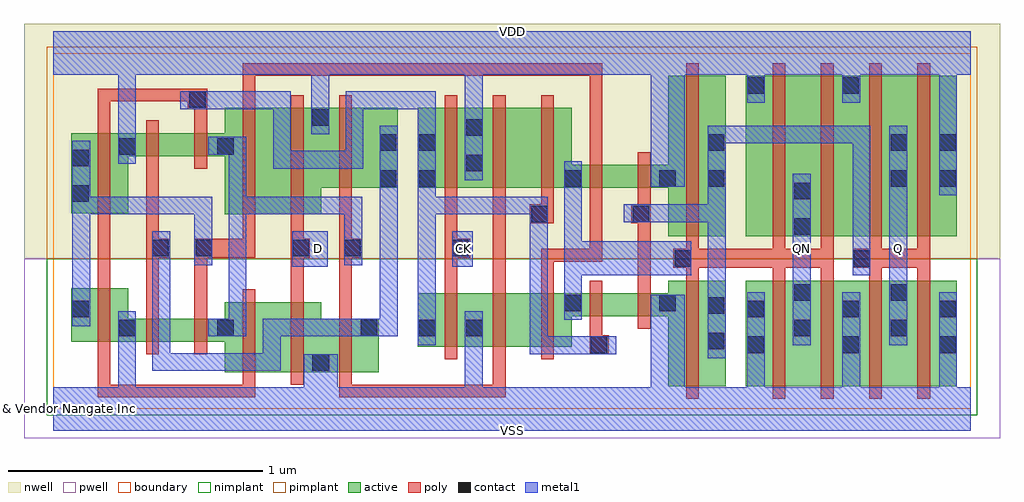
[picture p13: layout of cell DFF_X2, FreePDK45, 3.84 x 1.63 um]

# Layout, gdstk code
import gdstk
lib = gdstk.Library(unit=1e-6, precision=1e-10)
def R(c, l, rs):  # rectangles x0, y0, x1, y1
    for r in rs: c.add(gdstk.rectangle(r[:2], r[2:], *l))
def P(c, l, *ps):  # polygons
    for p in ps: c.add(gdstk.Polygon(p, *l))
active = (1, 0)
pwell = (2, 0)
nwell = (3, 0)
nimplant = (4, 0)
pimplant = (5, 0)
poly = (9, 0)
contact = (10, 0)
metal1 = (11, 0)
boundary = (235, 0)

dff_x2 = lib.new_cell('DFF_X2')
R(dff_x2, active, [(2.725,0.09,3.555,0.505), (2.725,0.68,3.555,1.31)])
P(dff_x2, active, [(0.675,0.145),(0.675,0.265),(0.07,0.265),(0.07,0.475),(0.295,0.475),(0.295,0.355),(0.675,0.355),(0.675,0.42),(1.055,0.42),(1.055,0.355),(1.28,0.355),(1.28,0.145)],
  [(0.675,0.765),(0.675,0.995),(0.295,0.995),(0.295,0.77),(0.07,0.77),(0.07,1.085),(0.675,1.085),(0.675,1.185),(1.355,1.185),(1.355,0.87),(1.055,0.87),(1.055,0.765)],
  [(2.42,0.09),(2.42,0.365),(2.04,0.365),(2.04,0.245),(1.435,0.245),(1.435,0.455),(2.42,0.455),(2.42,0.505),(2.645,0.505),(2.645,0.09)],
  [(2.42,0.68),(2.42,0.87),(1.435,0.87),(1.435,1.185),(2.04,1.185),(2.04,0.96),(2.42,0.96),(2.42,1.31),(2.645,1.31),(2.645,0.68)])
R(dff_x2, pwell, [(-0.115,-0.115,3.725,0.59)])
R(dff_x2, nwell, [(-0.115,0.59,3.725,1.515)])
R(dff_x2, nimplant, [(-0.025,-0.025,3.635,0.59)])
R(dff_x2, pimplant, [(-0.025,0.59,3.635,1.425)])
P(dff_x2, poly, [(0.365,0.215),(0.365,1.135),(0.415,1.135),(0.415,0.67),(0.46,0.67),(0.46,0.595),(0.415,0.595),(0.415,0.215)],
  [(0.175,0.045),(0.175,1.26),(0.605,1.26),(0.605,0.945),(0.555,0.945),(0.555,1.18),(0.53,1.18),(0.53,1.21),(0.225,1.21),(0.225,0.095),(0.745,0.095),(0.745,0.47),(0.795,0.47),(0.795,0.045)],
  [(0.935,0.095),(0.935,1.235),(0.985,1.235),(0.985,0.67),(1.01,0.67),(1.01,0.595),(0.985,0.595),(0.985,0.095)],
  [(1.54,0.195),(1.54,1.235),(1.59,1.235),(1.59,0.67),(1.64,0.67),(1.64,0.595),(1.59,0.595),(1.59,0.195)],
  [(1.125,0.045),(1.125,1.235),(1.175,1.235),(1.175,0.67),(1.215,0.67),(1.215,0.595),(1.175,0.595),(1.175,0.095),(1.73,0.095),(1.73,1.235),(1.78,1.235),(1.78,0.045)],
  [(1.875,0.73),(1.875,0.805),(1.92,0.805),(1.92,1.235),(1.97,1.235),(1.97,0.73)],
  [(1.92,0.195),(1.92,0.63),(2.11,0.63),(2.11,1.31),(0.795,1.31),(0.795,0.595),(0.605,0.595),(0.605,0.215),(0.555,0.215),(0.555,0.67),(0.745,0.67),(0.745,1.36),(2.16,1.36),(2.16,0.58),(1.97,0.58),(1.97,0.195)],
  [(2.11,0.215),(2.11,0.505),(2.16,0.505),(2.16,0.29),(2.185,0.29),(2.185,0.215)],
  [(2.3,0.315),(2.3,0.73),(2.275,0.73),(2.275,0.805),(2.3,0.805),(2.3,1.01),(2.35,1.01),(2.35,0.315)],
  [(2.49,0.04),(2.49,0.555),(2.44,0.555),(2.44,0.63),(2.49,0.63),(2.49,1.36),(2.54,1.36),(2.54,0.63),(2.83,0.63),(2.83,1.36),(2.88,1.36),(2.88,0.63),(3.02,0.63),(3.02,1.36),(3.07,1.36),(3.07,0.04),(3.02,0.04),(3.02,0.555),(2.88,0.555),(2.88,0.04),(2.83,0.04),(2.83,0.555),(2.54,0.555),(2.54,0.04)],
  [(3.21,0.04),(3.21,0.555),(3.145,0.555),(3.145,0.63),(3.21,0.63),(3.21,1.36),(3.26,1.36),(3.26,0.63),(3.4,0.63),(3.4,1.36),(3.45,1.36),(3.45,0.04),(3.4,0.04),(3.4,0.555),(3.26,0.555),(3.26,0.04)])
R(dff_x2, contact, [(1.02,0.15,1.085,0.215), (2.115,0.22,2.18,0.285), (2.73,0.22,2.795,0.285), (3.105,0.22,3.17,0.285), (3.485,0.22,3.55,0.285), (2.575,0.235,2.64,0.3), (0.26,0.285,0.325,0.35), (0.645,0.285,0.71,0.35), (1.21,0.285,1.275,0.35), (1.44,0.285,1.505,0.35), (1.625,0.285,1.69,0.35), (2.915,0.285,2.98,0.35), (3.295,0.285,3.36,0.35), (0.075,0.36,0.14,0.425), (2.73,0.36,2.795,0.425), (3.105,0.36,3.17,0.425), (3.485,0.36,3.55,0.425), (2.575,0.375,2.64,0.44), (2.01,0.385,2.075,0.45), (2.385,0.385,2.45,0.45), (2.915,0.425,2.98,0.49), (3.295,0.425,3.36,0.49), (2.445,0.56,2.51,0.625), (3.15,0.56,3.215,0.625), (0.39,0.6,0.455,0.665), (0.56,0.6,0.625,0.665), (0.94,0.6,1.005,0.665), (1.145,0.6,1.21,0.665), (1.57,0.6,1.635,0.665), (2.915,0.685,2.98,0.75), (1.88,0.735,1.945,0.8), (2.28,0.735,2.345,0.8), (0.075,0.815,0.14,0.88), (2.915,0.825,2.98,0.89), (1.285,0.875,1.35,0.94), (1.44,0.875,1.505,0.94), (2.01,0.875,2.075,0.94), (2.385,0.875,2.45,0.94), (2.575,0.875,2.64,0.94), (3.295,0.875,3.36,0.94), (3.485,0.875,3.55,0.94), (1.625,0.935,1.69,1), (0.075,0.955,0.14,1.02), (0.26,1,0.325,1.065), (0.645,1,0.71,1.065), (1.285,1.015,1.35,1.08), (1.44,1.015,1.505,1.08), (2.575,1.015,2.64,1.08), (3.295,1.015,3.36,1.08), (3.485,1.015,3.55,1.08), (1.625,1.075,1.69,1.14), (1.02,1.115,1.085,1.18), (0.535,1.185,0.6,1.25), (2.73,1.24,2.795,1.305), (3.105,1.24,3.17,1.305)])
R(dff_x2, metal1, [(2.91,0.25,2.98,0.925), (3.29,0.25,3.36,1.115), (0.94,0.56,1.08,0.7), (1.57,0.56,1.65,0.7)])
P(dff_x2, metal1, [(0.075,0.325),(0.075,1.055),(0.145,1.055),(0.145,0.835),(0.625,0.835),(0.625,0.565),(0.555,0.565),(0.555,0.765),(0.145,0.765),(0.145,0.325)],
  [(0.61,0.285),(0.61,0.355),(0.69,0.355),(0.69,1),(0.61,1),(0.61,1.07),(0.76,1.07),(0.76,0.835),(1.215,0.835),(1.215,0.565),(1.145,0.565),(1.145,0.765),(0.76,0.765),(0.76,0.285)],
  [(0.39,0.15),(0.39,0.7),(0.46,0.7),(0.46,0.22),(0.825,0.22),(0.825,0.355),(1.285,0.355),(1.285,1.115),(1.355,1.115),(1.355,0.285),(0.895,0.285),(0.895,0.15)],
  [(1.875,0.215),(1.875,0.765),(1.505,0.765),(1.505,0.25),(1.435,0.25),(1.435,1.18),(1.22,1.18),(1.22,0.945),(0.865,0.945),(0.865,1.18),(0.5,1.18),(0.5,1.25),(0.935,1.25),(0.935,1.015),(1.15,1.015),(1.15,1.25),(1.505,1.25),(1.505,0.835),(1.945,0.835),(1.945,0.285),(2.215,0.285),(2.215,0.215)],
  [(2.01,0.35),(2.01,0.975),(2.08,0.975),(2.08,0.66),(2.51,0.66),(2.51,0.525),(2.08,0.525),(2.08,0.35)],
  [(2.575,0.2),(2.575,0.735),(2.245,0.735),(2.245,0.805),(2.575,0.805),(2.575,1.115),(3.215,1.115),(3.215,0.525),(3.145,0.525),(3.145,1.045),(2.645,1.045),(2.645,0.2)],
  [(0,-0.085),(0,0.085),(0.255,0.085),(0.255,0.385),(0.325,0.385),(0.325,0.085),(0.985,0.085),(0.985,0.215),(1.12,0.215),(1.12,0.085),(1.62,0.085),(1.62,0.385),(1.69,0.385),(1.69,0.085),(2.35,0.085),(2.35,0.45),(2.485,0.45),(2.485,0.085),(2.73,0.085),(2.73,0.46),(2.8,0.46),(2.8,0.085),(3.105,0.085),(3.105,0.46),(3.175,0.46),(3.175,0.085),(3.485,0.085),(3.485,0.46),(3.555,0.46),(3.555,0.085),(3.61,0.085),(3.61,-0.085)],
  [(3.485,0.84),(3.485,1.315),(3.175,1.315),(3.175,1.205),(3.105,1.205),(3.105,1.315),(2.8,1.315),(2.8,1.205),(2.73,1.205),(2.73,1.315),(2.485,1.315),(2.485,0.875),(2.35,0.875),(2.35,1.315),(1.69,1.315),(1.69,0.9),(1.62,0.9),(1.62,1.315),(1.085,1.315),(1.085,1.08),(1.015,1.08),(1.015,1.315),(0.325,1.315),(0.325,0.965),(0.255,0.965),(0.255,1.315),(0,1.315),(0,1.485),(3.61,1.485),(3.61,1.315),(3.555,1.315),(3.555,0.84)])
R(dff_x2, boundary, [(0,0,3.61,1.4)])
dff_x2.add(gdstk.Label('CK', (1.615,0.63), layer=11, texttype=0))
dff_x2.add(gdstk.Label('D', (1.045,0.63), layer=11, texttype=0))
dff_x2.add(gdstk.Label('Q', (3.325,0.63), layer=11, texttype=0))
dff_x2.add(gdstk.Label('QN', (2.945,0.63), layer=11, texttype=0))
dff_x2.add(gdstk.Label('VDD', (1.805,1.485), layer=11, texttype=0))
dff_x2.add(gdstk.Label('VSS', (1.805,-0.085), layer=11, texttype=0))
dff_x2.add(gdstk.Label('& Vendor Nangate Inc', (0,0), layer=63, texttype=63))
dff_x2.add(gdstk.Label('& Product Open Cell Library', (0,0), layer=63, texttype=63))
dff_x2.add(gdstk.Label('& Version 2010_12', (0,0), layer=63, texttype=63))
dff_x2.add(gdstk.Label('& Instance DFF_X2', (0,0), layer=63, texttype=63))

lib.write_gds('DFF_X2.gds')
